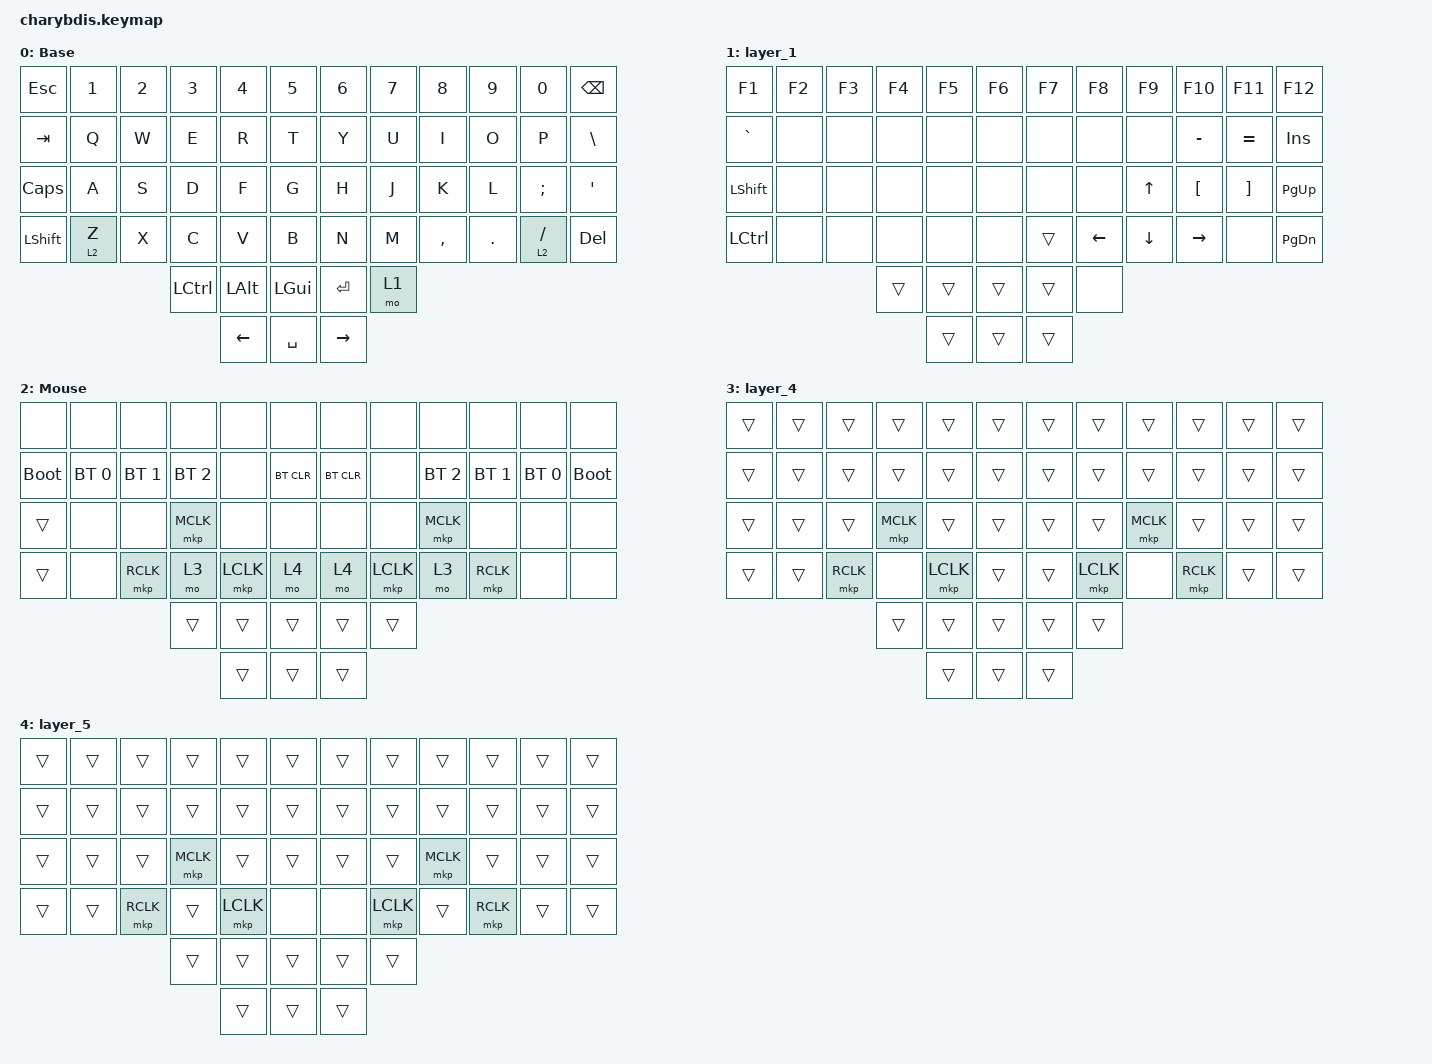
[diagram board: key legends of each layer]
#include <behaviors.dtsi>
#include <dt-bindings/zmk/bt.h>
#include <dt-bindings/zmk/keys.h>
#include <dt-bindings/zmk/mouse.h>

&lt {
    tapping-term-ms = <200>;
    flavor = "balanced";
    quick-tap-ms = <150>;
};

/ {
    combos {
        compatible = "zmk,combos";

        escc {
            bindings = <&kp ESC>;
            key-positions = <17 18>;
            layers = <0>;
        };
    };

    keymap {
        compatible = "zmk,keymap";

        Base {
            bindings = <
&kp ESC         &kp N1   &kp N2  &kp N3            &kp N4          &kp N5          &kp N6           &kp N7  &kp N8     &kp N9   &kp N0       &kp BSPC
&kp TAB         &kp Q    &kp W   &kp E             &kp R           &kp T           &kp Y            &kp U   &kp I      &kp O    &kp P        &kp BACKSLASH
&kp CAPS        &kp A    &kp S   &kp D             &kp F           &kp G           &kp H            &kp J   &kp K      &kp L    &kp SEMI     &kp APOS
&kp LEFT_SHIFT  &lt 2 Z  &kp X   &kp C             &kp V           &kp B           &kp N            &kp M   &kp COMMA  &kp DOT  &lt 2 SLASH  &kp DELETE
                                 &kp LEFT_CONTROL  &kp LEFT_ALT    &kp LEFT_GUI    &kp ENTER        &mo 1
                                                   &kp LEFT_ARROW  &kp SPACE       &kp RIGHT_ARROW
            >;

            trackball-bindings = <&tmv_coarse>;
        };

        layer_1 {
            bindings = <
&kp F1            &kp F2  &kp F3  &kp F4  &kp F5  &kp F6    &kp F7  &kp F8          &kp F9          &kp F10           &kp F11            &kp F12
&kp GRAVE         &none   &none   &none   &none   &none     &none   &none           &none           &kp MINUS         &kp EQUAL          &kp INS
&kp LEFT_SHIFT    &none   &none   &none   &none   &none     &none   &none           &kp UP_ARROW    &kp LEFT_BRACKET  &kp RIGHT_BRACKET  &kp PAGE_UP
&kp LEFT_CONTROL  &none   &none   &none   &none   &none     &trans  &kp LEFT_ARROW  &kp DOWN_ARROW  &kp RIGHT_ARROW   &none              &kp PAGE_DOWN
                                  &trans  &trans  &trans    &trans  &none
                                          &trans  &trans    &trans
            >;
        };

        Mouse {
            bindings = <
&none        &none         &none         &none         &none      &none         &none       &none      &none         &none         &none         &none
&bootloader  &bt BT_SEL 0  &bt BT_SEL 1  &bt BT_SEL 2  &none      &bt BT_CLR    &bt BT_CLR  &none      &bt BT_SEL 2  &bt BT_SEL 1  &bt BT_SEL 0  &bootloader
&trans       &none         &none         &mkp MCLK     &none      &none         &none       &none      &mkp MCLK     &none         &none         &none
&trans       &none         &mkp RCLK     &mo 3         &mkp LCLK  &mo 4         &mo 4       &mkp LCLK  &mo 3         &mkp RCLK     &none         &none
                                         &trans        &trans     &trans        &trans      &trans
                                                       &trans     &trans        &trans
            >;
        };

        layer_4 {
            bindings = <
&trans  &trans  &trans     &trans     &trans     &trans    &trans  &trans     &trans     &trans     &trans  &trans
&trans  &trans  &trans     &trans     &trans     &trans    &trans  &trans     &trans     &trans     &trans  &trans
&trans  &trans  &trans     &mkp MCLK  &trans     &trans    &trans  &trans     &mkp MCLK  &trans     &trans  &trans
&trans  &trans  &mkp RCLK  &none      &mkp LCLK  &trans    &trans  &mkp LCLK  &none      &mkp RCLK  &trans  &trans
                           &trans     &trans     &trans    &trans  &trans
                                      &trans     &trans    &trans
            >;

            trackball-bindings = <&tsl>;//滚轮层
        };

        layer_5 {
            bindings = <
&trans  &trans  &trans     &trans     &trans     &trans    &trans  &trans     &trans     &trans     &trans  &trans
&trans  &trans  &trans     &trans     &trans     &trans    &trans  &trans     &trans     &trans     &trans  &trans
&trans  &trans  &trans     &mkp MCLK  &trans     &trans    &trans  &trans     &mkp MCLK  &trans     &trans  &trans
&trans  &trans  &mkp RCLK  &trans     &mkp LCLK  &none     &none   &mkp LCLK  &trans     &mkp RCLK  &trans  &trans
                           &trans     &trans     &trans    &trans  &trans
                                      &trans     &trans    &trans
            >;

            trackball-bindings = <&tmv_fine>;//精准指针层
        };
    };
};
